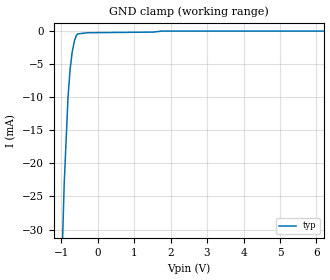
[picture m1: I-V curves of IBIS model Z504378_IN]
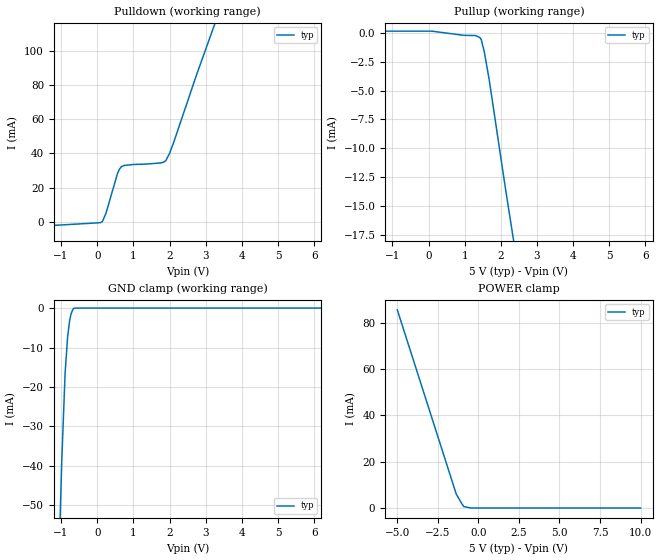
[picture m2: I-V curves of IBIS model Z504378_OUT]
| YOU ARE ONLY AUTHORIZED TO USE THIS SOFTWARE
| ACCORDING TO LICENSOR'S LICENSE RESTRICTIONS.
[IBIS Ver] 3.1
[File Name] sn54ls138j.ibs
[File Rev] 2.0
[Source] Measured and created by ICX Technology
[Date] Friday 7/14/00 9:08:13 AM
[Copyright]
| (C) COPYRIGHT 1993-2000
| MENTOR GRAPHICS CORPORATION
| ICX STANDARD LIBRARY, ICX PROJECT MODELING,
| ICX CUSTOM MODELING, ICX VENDOR MODEL
| ALL RIGHTS RESERVED.
| THE FOLLOWING ARE TRADEMARKS OR SERVICE MARKS OF
| MENTOR GRAPHICS CORPORATION:ICX (R), ICX STANDARD
| LIBRARY(R), ICX PROJECT MODELING(R), ICX CUSTOM
| MODELING(R), qualityIBIS(TM), MODELVIEWER(TM),
| AND MODELEDITOR(TM)
| ALL COPIES OF SOFTWARE, INCLUDING BUT NOT LIMITED TO
| ANY MODIFICATIONS, ENHANCEMENTS OR DERIVATIVE WORKS,
| MUST CONTAIN ALL MENTOR GRAPHICS CORPORATION'S
| NOTICES AND LEGENDS, INCLUDING THOSE EMBEDDED IN
| SOFTWARE AND THOSE AFFIXED TO SOFTWARE MEDIUM
| AND CONTAINER, AS RECEIVED FROM MENTOR GRAPHICS
| CORPORATION.
|  ZAP Model Builder 2.7
[Component] SN54LS138J
[Manufacturer] OnSemiconductor
[Package]
| variable   typ   min   max
R_pkg  .212ohms NA NA
L_pkg  4.758nH NA NA
C_pkg  1.944pF NA NA
[Pin] signal_name  model_name  R_pin  L_pin C_pin
1 A Z504378_IN .224 7.258n 2.683p
2 B Z504378_IN .216 5.258n 2.19p
3 C Z504378_IN .208 3.758n 1.697p
4 _G3 Z504378_IN .2 2.758n 1.204p
5 _G2 Z504378_IN .2 2.758n 1.204p
6 G1 Z504378_IN .208 3.758n 1.697p
7 _Y7 Z504378_OUT .216 5.258n 2.19p
8 GND GND .224 7.258n 2.683p
9 _Y6 Z504378_OUT .224 7.258n 2.683p
10 _Y5 Z504378_OUT .216 5.258n 2.19p
11 _Y4 Z504378_OUT .208 3.758n 1.697p
12 _Y3 Z504378_OUT .2 2.758n 1.204p
13 _Y2 Z504378_OUT .2 2.758n 1.204p
14 _Y1 Z504378_OUT .208 3.758n 1.697p
15 _Y0 Z504378_OUT .216 5.258n 2.19p
16 VCC POWER .224 7.258n 2.683p
| Models and submodels in the file (2): Z504378_IN (Input), Z504378_OUT (Output)
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| (C) COPYRIGHT 1993-2000
| MENTOR GRAPHICS CORPORATION
| ICX STANDARD LIBRARY, ICX PROJECT MODELING,
| ICX CUSTOM MODELING, ICX VENDOR MODEL
| ALL RIGHTS RESERVED.
| THE FOLLOWING ARE TRADEMARKS OR SERVICE MARKS OF
| MENTOR GRAPHICS CORPORATION:ICX (R), ICX STANDARD
| LIBRARY(R), ICX PROJECT MODELING(R), ICX CUSTOM
| MODELING(R), qualityIBIS(TM), MODELVIEWER(TM),
| AND MODELEDITOR(TM)
| ALL COPIES OF SOFTWARE, INCLUDING BUT NOT LIMITED TO
| ANY MODIFICATIONS, ENHANCEMENTS OR DERIVATIVE WORKS,
| MUST CONTAIN ALL MENTOR GRAPHICS CORPORATION'S
| NOTICES AND LEGENDS, INCLUDING THOSE EMBEDDED IN
| SOFTWARE AND THOSE AFFIXED TO SOFTWARE MEDIUM
| AND CONTAINER, AS RECEIVED FROM MENTOR GRAPHICS
| CORPORATION.
| Model Application Version 1.89 2/18/99.
[Model] Z504378_IN
Model_type Input
Vinl = 800.0mV
Vinh = 2.000V
C_comp 4.000pF NA NA
| variable typ   min   max
[Voltage Range] 5.000V NA NA
[GND Clamp Reference] 0.000V NA NA
[POWER Clamp Reference] 5.000V NA NA
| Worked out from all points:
|   GND clamp passes 1 mA (typ) near -0.60 V on its own axis
[GND Clamp]
-5V       -803.3mA   NA         NA
-915.9mV  -23.13mA   NA         NA
-809.4mV  -9.812mA   NA         NA
-752mV    -5.712mA   NA         NA
-698.3mV  -3.222mA   NA         NA
-634.5mV  -1.464mA   NA         NA
-584.4mV  -702.2uA   NA         NA
-546.9mV  -430.8uA   NA         NA
-273.4mV  -248.3uA   NA         NA
1.527V    -152.4uA   NA         NA
1.763V    280.2nA    NA         NA
10V       280.2nA    NA         NA
[POWER Clamp]
-5V       0A         NA         NA
10V       0A         NA         NA
| (C) COPYRIGHT 1993-2000
| MENTOR GRAPHICS CORPORATION
| ICX STANDARD LIBRARY, ICX PROJECT MODELING,
| ICX CUSTOM MODELING, ICX VENDOR MODEL
| ALL RIGHTS RESERVED.
| THE FOLLOWING ARE TRADEMARKS OR SERVICE MARKS OF
| MENTOR GRAPHICS CORPORATION:ICX (R), ICX STANDARD
| LIBRARY(R), ICX PROJECT MODELING(R), ICX CUSTOM
| MODELING(R), qualityIBIS(TM), MODELVIEWER(TM),
| AND MODELEDITOR(TM)
| ALL COPIES OF SOFTWARE, INCLUDING BUT NOT LIMITED TO
| ANY MODIFICATIONS, ENHANCEMENTS OR DERIVATIVE WORKS,
| MUST CONTAIN ALL MENTOR GRAPHICS CORPORATION'S
| NOTICES AND LEGENDS, INCLUDING THOSE EMBEDDED IN
| SOFTWARE AND THOSE AFFIXED TO SOFTWARE MEDIUM
| AND CONTAINER, AS RECEIVED FROM MENTOR GRAPHICS
| CORPORATION.
| Model Application Version 1.89 2/18/99.
[Model] Z504378_OUT
Model_type Output
Vref=5.000V
Rref=2.000kohms
Cref=15.00pF
Vmeas=1.300V
C_comp 8.000pF NA NA
| variable typ   min   max
[Voltage Range] 5.000V NA NA
[POWER Clamp Reference] 5.000V NA NA
[Pullup Reference] 5.000V NA NA
[Pulldown Reference] 0.000V NA NA
[GND Clamp Reference] 0.000V NA NA
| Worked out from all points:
|   slope of the pulldown table from 0 to 0.75 V, typ, clamps not added: 22.4 ohm
|   slope of the pullup table from 0 to 0.75 V, typ, clamps not added: 2.77 kohm
|   GND clamp passes 1 mA (typ) near -0.70 V on its own axis
|   POWER clamp passes 1 mA (typ) near -0.94 V on its own axis
[GND Clamp]
-5V       -1.786A    NA         NA
-1.074V   -68.99mA   NA         NA
-982.8mV  -39.36mA   NA         NA
-888.3mV  -16.54mA   NA         NA
-819.2mV  -7.381mA   NA         NA
-765.4mV  -3.359mA   NA         NA
-727.6mV  -1.625mA   NA         NA
-683.6mV  -517.3uA   NA         NA
-644.6mV  -29.24uA   NA         NA
-515.7mV  0A         NA         NA
10V       0A         NA         NA
[Pulldown]
-5V       -6.623mA   NA         NA
87.89mV   -373uA     NA         NA
151.3mV   635.1uA    NA         NA
243.8mV   5.226mA    NA         NA
558.5mV   28.13mA    NA         NA
671.4mV   32.34mA    NA         NA
1.769V    34.5mA     NA         NA
1.904V    36.05mA    NA         NA
2.002V    40.11mA    NA         NA
2.114V    46.36mA    NA         NA
2.747V    85.84mA    NA         NA
10V       513mA      NA         NA
[Pullup]
-5V       150.5uA    NA         NA
84mV      150.5uA    NA         NA
981mV     -213.7uA   NA         NA
1.299V    -230.9uA   NA         NA
1.42V     -405.3uA   NA         NA
1.459V    -589.6uA   NA         NA
1.541V    -1.636mA   NA         NA
1.675V    -4.009mA   NA         NA
2.12V     -13.34mA   NA         NA
10V       -171.1mA   NA         NA
[POWER Clamp]
-5V       85.56mA    NA         NA
-1.366V   6.011mA    NA         NA
-1.015V   1.761mA    NA         NA
-894mV    609.8uA    NA         NA
-447mV    0A         NA         NA
10V       0A         NA         NA
[Ramp]
| variable typ min max
dV/dt_r 1.865/6.289n NA NA
dV/dt_f 1.865/2.459n NA NA
R_load = 500.0Ohms
